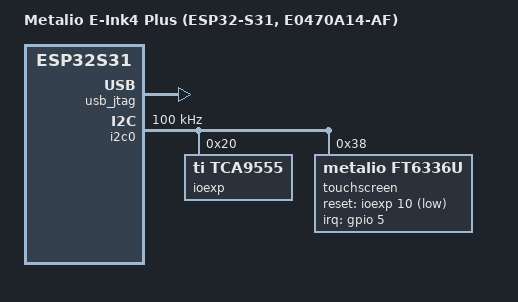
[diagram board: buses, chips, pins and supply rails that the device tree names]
// SPDX-License-Identifier: (GPL-2.0 OR MIT)
#include "esp32s31.dts"

/ {
	model = "Metalio E-Ink4 Plus (ESP32-S31, E0470A14-AF)";
	compatible = "metalio,eink4-plus", "esp,esp32s31";

	aliases {
		serial1 = &usb_jtag;
	};

	chosen {
		stdout-path = "serial1:115200n8";
		bootargs = "earlycon=sbi console=ttyS0 console=ttyGS1 root=mtd:rootfs rootfstype=cramfs ro swiotlb=128";
	};

	soc {
		hp_system: syscon@20586000 {
			compatible = "esp,esp32s31-hp-system", "syscon";
			reg = <0x20586000 0x400>;
		};

		epd: epd@20396000 {
			compatible = "metalio,eink4-plus-epd";
			reg = <0x20396000 0x100>, <0x20348000 0x1000>,
			      <0x20355000 0x800>, <0x20355800 0x800>;
			reg-names = "lcd-cam", "axi-dma", "rmt", "rmtmem";
			interrupt-parent = <&intmtx>;
			interrupts = <13 IRQ_TYPE_LEVEL_HIGH>, <51 IRQ_TYPE_LEVEL_HIGH>;
			interrupt-names = "lcd", "dma";
			hp-clkrst = <&sysctl>;
			hp-system = <&hp_system>;
			gpio-matrix = <&gpio>;
			iomux = <&pinctrl>;
			i2c-bus = <&i2c0>;
			memory-region = <&dma_pool>;
			dma-noncoherent;
			vcom-millivolt = <1200>;
			oe-gpios = <&gpio 18 GPIO_ACTIVE_HIGH>;
			mode-gpios = <&gpio 19 GPIO_ACTIVE_HIGH>;
			border-gpios = <&gpio 37 GPIO_ACTIVE_HIGH>;
			stv-gpios = <&gpio 35 GPIO_ACTIVE_HIGH>;
			wakeup-gpios = <&ioexp 2 GPIO_ACTIVE_HIGH>;
			pwrup-gpios = <&ioexp 1 GPIO_ACTIVE_HIGH>;
			vcom-gpios = <&ioexp 0 GPIO_ACTIVE_HIGH>;
			powergood-gpios = <&ioexp 7 GPIO_ACTIVE_HIGH>;
			panel-power-gpios = <&ioexp 5 GPIO_ACTIVE_HIGH>;
			bus-gpios = <&gpio 8 GPIO_ACTIVE_HIGH>, <&gpio 9 GPIO_ACTIVE_HIGH>,
				    <&gpio 10 GPIO_ACTIVE_HIGH>, <&gpio 11 GPIO_ACTIVE_HIGH>,
				    <&gpio 12 GPIO_ACTIVE_HIGH>, <&gpio 13 GPIO_ACTIVE_HIGH>,
				    <&gpio 14 GPIO_ACTIVE_HIGH>, <&gpio 15 GPIO_ACTIVE_HIGH>,
				    <&gpio 16 GPIO_ACTIVE_HIGH>, <&gpio 17 GPIO_ACTIVE_HIGH>,
				    <&gpio 4 GPIO_ACTIVE_HIGH>, <&gpio 40 GPIO_ACTIVE_HIGH>;
		};
	};
};

&usb_jtag {
	compatible = "esp,esp32s31-usb-serial-jtag", "esp,esp32s3-acm", "syscon";
	interrupt-parent = <&intmtx>;
	interrupts = <2 IRQ_TYPE_LEVEL_HIGH>;
	status = "okay";
};

&i2c0_pins {
	pinmux = <ESP_PINMUX(0, ESP_FUNC_S31_I2C0_SDA_ID)>,
		 <ESP_PINMUX(1, ESP_FUNC_S31_I2C0_SCL_ID)>;
};

&i2c0 {
	status = "okay";
	clock-frequency = <100000>;

	ioexp: gpio@20 {
		compatible = "ti,tca9555", "nxp,pca9555";
		reg = <0x20>;
		gpio-controller;
		#gpio-cells = <2>;

		shared-power-high {
			gpio-hog;
			gpios = <12 GPIO_ACTIVE_HIGH>;
			output-high;
			line-name = "shared-vout-enable";
		};

		unused-outputs-low {
			gpio-hog;
			gpios = <3 GPIO_ACTIVE_HIGH>, <4 GPIO_ACTIVE_HIGH>,
				<11 GPIO_ACTIVE_HIGH>;
			output-low;
			line-name = "motor-amplifier-shutdown-off";
		};
	};

	touchscreen@38 {
		compatible = "metalio,ft6336u";
		reg = <0x38>;
		interrupt-parent = <&gpio>;
		interrupts = <5 IRQ_TYPE_EDGE_BOTH>;
		reset-gpios = <&ioexp 10 GPIO_ACTIVE_LOW>;
		touchscreen-size-x = <684>;
		touchscreen-size-y = <1216>;
		/* Boot reset shares P12 with the disabled modem/camera; no firmware upgrade. */
	};
};

&emac {
	status = "disabled";
};

/* Keep the small internal-SRAM DMA pool available for one complete EPD phase. */
&sdmmc {
	status = "disabled";
};

&usb {
	status = "disabled";
};
